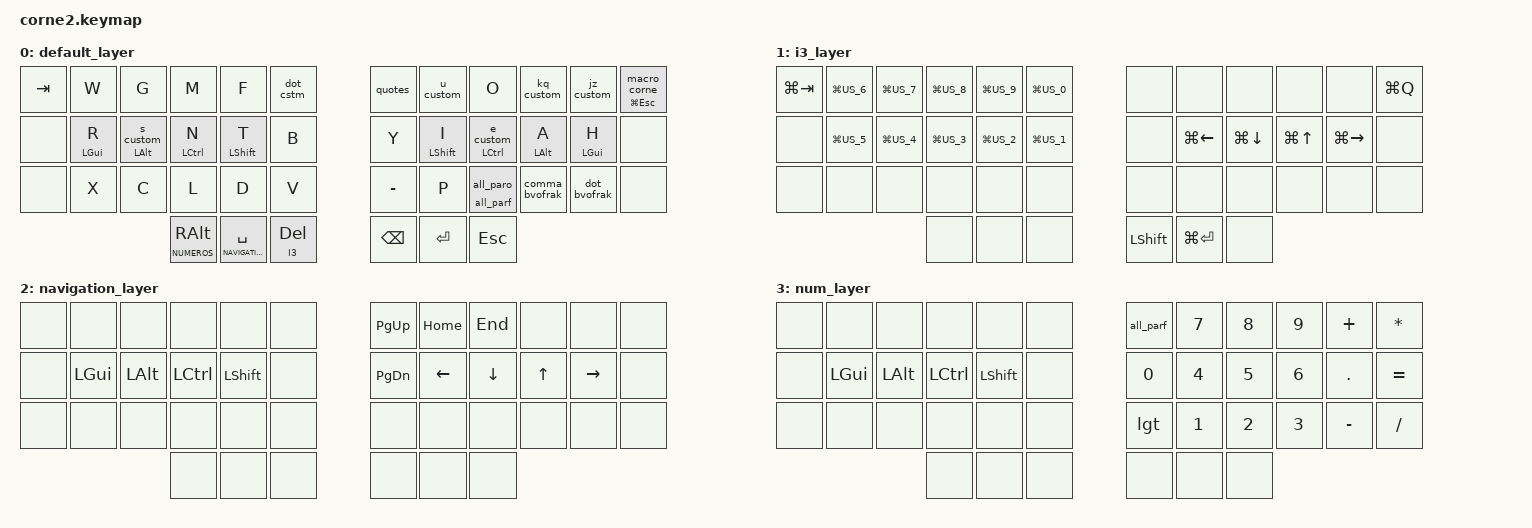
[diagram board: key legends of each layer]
/*
 * Copyright (c) 2020 The ZMK Contributors
 *
 * SPDX-License-Identifier: MIT
 */

#include <behaviors.dtsi>
#include "../zmk-nodefree-config/helper.h"
#include "../zmk-nodefree-config/keypos_def/keypos_42keys.h"
#include <dt-bindings/zmk/keys.h>
#include <dt-bindings/zmk/bt.h>
#include "accents.dtsi"
#include "keys_fr.h"
#include <dt-bindings/zmk/rgb.h>
#include <dt-bindings/zmk/ext_power.h>
#include <dt-bindings/zmk/outputs.h>
#include <../boards/shields/corne/boards/nice_nano.overlay>

// Overwrite number of leds on the keyboard. A Corne has 27 per side.
&led_strip { chain-length = <27>; };

#define DEFAULT    0 // default_layer
#define I3    1 // navigation in i3
#define NAVIGATION    2 // navigation classique
#define NUMEROS  3 // numeros

/ {
        behaviors {
                #include "behavior_mod_morph.dtsi"
                ht: hold_tap {
                        compatible = "zmk,behavior-hold-tap";
                        label = "HOLD_TAP";
                        #binding-cells = <2>;
                        tapping-term-ms = <250>;
                        quick-tap-ms = <200>;
                        flavor = "tap-preferred";
                        bindings = <&kp>, <&kp>;
                };
                ht_par: hold_tap_parenthesis {
                        compatible = "zmk,behavior-hold-tap";
                        label = "HOLD_TAP_PAR";
                        #binding-cells = <2>;
                        tapping-term-ms = <250>;
                        quick-tap-ms = <200>;
                        flavor = "tap-preferred";
                        bindings = <&all_parf>, <&all_paro>;
                };
                ht_qqu: hold_tap_qqu {
                        compatible = "zmk,behavior-hold-tap";
                        label = "HOLD_TAP_QQU";
                        #binding-cells = <2>;
                        tapping-term-ms = <250>;
                        quick-tap-ms = <200>;
                        flavor = "tap-preferred";
                        bindings = <&kp>, <&macro_qu>;
                };
                ht_chevrons: hold_tap_chevrons {
                        compatible = "zmk,behavior-hold-tap";
                        label = "HOLD_TAP_CHEVRONS";
                        #binding-cells = <2>;
                        tapping-term-ms = <250>;
                        quick-tap-ms = <200>;
                        flavor = "tap-preferred";
                        bindings = <&macro_chevrons>, <&lgt>;
                };
                ht_equal: hold_tap_equal {
                        compatible = "zmk,behavior-hold-tap";
                        label = "HOLD_TAP_EQUAL";
                        #binding-cells = <2>;
                        tapping-term-ms = <250>;
                        quick-tap-ms = <200>;
                        flavor = "tap-preferred";
                        bindings = <&macro_diff>, <&kp>;
                };
                ht_esc: hold_tap_esc {
                        compatible = "zmk,behavior-hold-tap";
                        label = "HOLD_TAP_ESC";
                        #binding-cells = <2>;
                        tapping-term-ms = <250>;
                        quick-tap-ms = <200>;
                        flavor = "tap-preferred";
                        bindings = <&kp>, <&macro_corne>;
                };
                mo_to: behavior_mo_to {
                        compatible = "zmk,behavior-hold-tap";
                        label = "mo_to";
                        #binding-cells = <2>;
                        flavor = "hold-preferred";
                        tapping-term-ms = <200>;
                        bindings = <&mo>, <&to>;
                }; //momentary on hold, to on tap
                hme: homerow_mod_e {
                        compatible = "zmk,behavior-hold-tap";
                        label = "HOMEROW_MOD_E";
                        #binding-cells = <2>;
                        flavor = "tap-preferred";
                        tapping-term-ms = <200>;
                        quick-tap-ms = <200>;
                        bindings = <&kp>, <&e_custom>;
                };
                hms: homerow_mod_s {
                        compatible = "zmk,behavior-hold-tap";
                        label = "HOMEROW_MOD_S";
                        #binding-cells = <2>;
                        flavor = "tap-preferred";
                        tapping-term-ms = <200>;
                        quick-tap-ms = <200>;
                        bindings = <&kp>, <&s_custom>;
                };
                bhm: balanced_homerow_mods {
                        compatible = "zmk,behavior-hold-tap";
                        label = "HOMEROW_MODS";
                        #binding-cells = <2>;
                        flavor = "tap-preferred";
                        tapping-term-ms = <200>;
                        quick-tap-ms = <200>;
                        bindings = <&kp>, <&kp>;
                };
                kq_custom: kq_custom {
                        compatible = "zmk,behavior-mod-morph";
                        label = "KQ_CUSTOM";
                        #binding-cells = <0>;
                        bindings = <&kp US_K>, <&ht_qqu Q 0>;
                        mods = <(MOD_LALT|MOD_RALT)>;
                };
        };
        macros {
                macro_diff: macro_diff {
                        label = "macro_diff";
                        compatible = "zmk,behavior-macro";
                        #binding-cells = <0>;
                        bindings = <&macro_tap &kp EXCL &kp EQUAL>;
                };
                macro_chevrons: macro_chevrons {
                        label = "macro_chevrons";
                        compatible = "zmk,behavior-macro";
                        #binding-cells = <0>;
                        bindings = <&macro_tap &kp LT &kp GT &kp LEFT>;
                };
                macro_qu: macro_qu {
                        label = "macro_qu";
                        compatible = "zmk,behavior-macro";
                        #binding-cells = <0>;
                        bindings = <&macro_wait_time 30 &macro_tap &kp Q &kp U>,
                        <&macro_release &kp LALT>;
                };
                macro_corne: macro_corne {
                        label = "macro_corne";
                        compatible = "zmk,behavior-macro";
                        #binding-cells = <0>;
                        bindings = 
                        <&macro_wait_time 2000>,
                        <&macro_tap &kp LG(RET)>,
                        <&macro_wait_time 30>,
                        <&macro_tap &kp C &kp O &kp R &kp N &kp E &kp RET &kp LG(Q)>;
                };
        };
        combos {
                compatible = "zmk,combos";
                combo_cut {
                        timeout-ms = <50>;
                        key-positions = <25 27>;
                        bindings = <&kp LC(X)>;
                };
                combo_copy {
                        timeout-ms = <50>;
                        key-positions = <25 26>;
                        bindings = <&kp LC(C)>;
                };
                combo_paste {
                        timeout-ms = <50>;
                        key-positions = <26 27>;
                        bindings = <&kp LC(V)>;
                };
                combo_undo {
                        timeout-ms = <50>;
                        key-positions = <25 28>;
                        bindings = <&kp LC(Z)>;
                };
                combo_redo {
                        timeout-ms = <50>;
                        key-positions = <25 29>;
                        bindings = <&kp LC(Y)>;
                };
                combo_caps_word {
                        timeout-ms = <50>;
                        key-positions = <16 19>;
                        bindings = <&caps_word>;
                };
                combo_chevrons {
                        timeout-ms = <50>;
                        key-positions = <33 34>;
                        bindings = <&ht_chevrons 0 0>;
                };
                combo_slh {
                        timeout-ms = <50>;
                        key-positions = <4 5>;
                        bindings = <&all_slh>;
                };
                combo_star {
                        timeout-ms = <50>;
                        key-positions = <30 34>;
                        bindings = <&kp STAR>;
                };
                combo_at {
                        timeout-ms = <50>;
                        key-positions = <16 21>;
                        bindings = <&kp AT>;
                };
                combo_hash {
                        timeout-ms = <50>;
                        key-positions = <32 33>;
                        bindings = <&kp HASH>;
                };
                combo_prc {
                        timeout-ms = <50>;
                        key-positions = <31 32>;
                        bindings = <&kp PERCENT>;
                };
                combo_and {
                        timeout-ms = <50>;
                        key-positions = <16 20>;
                        bindings = <&kp AMPS>;
                };
                combo_equal_diff {
                        timeout-ms = <50>;
                        key-positions = <30 31>;
                        bindings = <&ht_equal 0 EQUAL>;
                };
                combo_eacu {
                        timeout-ms = <50>;
                        key-positions = <19 20>;
                        bindings = <&kp US_EACU>;
                };
                combo_egrv {
                        timeout-ms = <50>;
                        key-positions = <20 21>;
                        bindings = <&ac_egrv>;
                };
                combo_ecir {
                        timeout-ms = <50>;
                        key-positions = <8 20>;
                        bindings = <&ac_ecir>;
                };
                combo_agrv {
                        timeout-ms = <50>;
                        key-positions = <8 21>;
                        bindings = <&ac_agrv>;
                };
                combo_circ {
                        timeout-ms = <50>;
                        key-positions = <28 29>;
                        bindings = <&kp US_DCARET>;
                };
                combo_trem {
                        timeout-ms = <50>;
                        key-positions = <16 17>;
                        bindings = <&kp US_DDQT>;
                };
                combo_cced {
                        timeout-ms = <50>;
                        key-positions = <14 15>;
                        bindings = <&kp US_CCED>;
                };
        };
        keymap {
                compatible = "zmk,keymap";

                default_layer {
// -----------------------------------------------------------------------------------------
// | Tab |  W  |  G  |  M  |  F  | ! ? |   | ' " |  U  |  O  |Kq QU| Jz  |qt/st|
// |     |  R  |  S  |  N  |  T  |  B  |   |  Y  |  I  |  E  |  A  |  H  |     |
// |     |  X  |  C  |  L  |  D  |  V  |   | - _ |  P  | ({[ | , ; | . : |     |
//                   |RALT |SUPR | SPC |   |ENTER| DEL | ESC |
                        bindings = <
   &kp TAB   &kp W       &kp G       &kp M        &kp F         &dot_cstm      &quotes   &u_custom     &kp O        &kq_custom     &jz_custom   &ht_esc LG(ESC) 0
   &none     &bhm LGUI R &hms LALT 0 &bhm LCTRL N &bhm LSHIFT T &kp B          &kp Y     &bhm LSHIFT I &hme LCTRL 0 &bhm LALT A    &bhm LGUI H  &none 
   &none     &kp X       &kp C       &kp L        &kp D         &kp V          &kp MINUS &kp P         &ht_par 0 0  &comma_bvofrak &dot_bvofrak &none
                          &lt NUMEROS RALT &lt NAVIGATION SPACE &lt I3 DEL          &kp BSPC     &kp RET   &kp ESC
                        >;
                };
                i3_layer {
// -----------------------------------------------------------------------------------------
// |wintb|  6  |  7  |  8  |  9  |  0  |   |     |     |     |     |     |     |
// |     |  5  |  4  |  3  |  2  |  1  |   |     |  ←  |  ↓  |  ↑  |  →  |     |
// |     |     |     |     |     |     |   |     |     |     |     |     |     |
//                   |     |     |     |   |SHIFT|     |     |
                        bindings = <
   &kp LG(TAB) &kp LG(US_6) &kp LG(US_7) &kp LG(US_8) &kp LG(US_9) &kp LG(US_0)   &none &none        &none        &none      &none         &kp LG(Q)
   &none       &kp LG(US_5) &kp LG(US_4) &kp LG(US_3) &kp LG(US_2) &kp LG(US_1)   &none &kp LG(LEFT) &kp LG(DOWN) &kp LG(UP) &kp LG(RIGHT) &none
   &none       &none        &none        &none        &none        &none          &none &none        &none        &none      &none         &none
                                         &none        &none        &none          &kp LSHIFT &kp LG(RET)  &none
                        >;
                };
                navigation_layer {
// -----------------------------------------------------------------------------------------
// |     |     |     |     |     |     |   |PG_UP|HOME | END |     |     |     |
// |     | GUI | ALT | CTRL|SHIFT|     |   |PG_DN|  ←  |  ↓  |  ↑  |  →  |     |
// |     |     |     |     |     |     |   |     |     |     |     |     |     |
//                   |     |     |     |   |     |     |     |
                        bindings = <
   &none &none    &none    &none     &none      &none      &kp PG_UP &kp HOME &kp END  &none  &none     &none 
   &none &kp LGUI &kp LALT &kp LCTRL &kp LSHIFT &none      &kp PG_DN &kp LEFT &kp DOWN &kp UP &kp RIGHT &none
   &none &none    &none    &none     &none      &none      &none     &none    &none    &none  &none     &none
                                  &none &none &none      &none &none  &none
                        >;
                };
              num_layer {
// -----------------------------------------------------------------------------------------
// |     |     |     |     |     |     |   |) } ]|  7  |  8  |  9  |  +  |  *  |
// |     | GUI | ALT | CTRL|SHIFT|     |   |  0  |  4  |  5  |  6  |  .  |  =  |
// |     |     |     |     |     |     |   | < > |  1  |  2  |  3  |  -  |  /  |
//                   |     |     |     |   |     |     |     |
                        bindings = <
   &none &none &none &none &none &none      &all_parf &kp N7 &kp N8 &kp N9 &kp PLUS &kp STAR 
   &none &kp LGUI &kp LALT &kp LCTRL &kp LSHIFT &none      &kp N0 &kp N4 &kp N5 &kp N6 &kp DOT &kp EQUAL
   &none &none &none &none &none &none      &lgt &kp N1 &kp N2 &kp N3 &kp MINUS &kp FSLH
                     &none &none &none      &none &none  &none
                        >;
                };
//                control_layer {
// -----------------------------------------------------------------------------------------
// |  F1  |  F2 |  F3 | F4  | F5  | F6  |   | F7  | F8  | F9  | F10 | F11 | F12 |
// |to def| OUT | BR- | BR+ | EFF | TOG |   |     |     |     |     |mncrf|     |
// |BTCLR | BT1 | BT2 | BT3 | BT4 | BT5 |   |prev |play |next |vol+ |vol- |mute |
//                   |     |     |     |   |     |     |     |
//                        bindings = <
//   &kp F1      &kp F2       &kp F3          &kp F4          &kp F5          &kp F6          &kp F7     &kp F8   &kp F9     &kp F10      &kp F11       &kp F12
//   &to DEFAULT &out OUT_TOG &rgb_ug RGB_BRD &rgb_ug RGB_BRI &rgb_ug RGB_EFF &rgb_ug RGB_TOG &none      &none    &none      &none        &to MINECRAFT &none
//   &bt BT_CLR  &bt BT_SEL 1 &bt BT_SEL 2    &bt BT_SEL 3    &bt BT_SEL 4    &bt BT_SEL 5    &kp C_PREV &kp C_PP &kp C_NEXT &kp C_VOL_UP &kp C_VOL_DN  &kp C_MUTE
//                                        &trans       &trans       &mo_to NAVIGATION DEFAULT       &trans     &trans   &trans
//                        >;
//                };
//                minecraft_layer {
// -----------------------------------------------------------------------------------------
// | ESC |  Q  |  1  |  W  |  E  |  R  |   |     |       |     |     |     |DEFAULT|
// | TAB |SHIFT|  A  |  S  |  D  |  L  |   |     |       |     |     |     |       |
// |  F5 |  F  |     |  H  |  G  |  B  |   |     |       |     |     |     |       |
//                   | CTRL| F3  |SPACE|   |     |       |     |
//                        bindings = <
//   &kp ESC &kp US_Q   &kp US_1 &kp US_W &kp US_E &kp US_R   &none &none &none &none &none &to DEFAULT
//   &kp TAB &kp LSHIFT &kp US_A &kp US_S &kp US_D &kp US_L   &none &none &none &none &none &none
//   &kp F5  &kp US_F   &none    &kp US_H &kp US_G &kp US_B   &none &none &none &none &none &none
//                              &kp LCTRL &kp F3   &kp SPACE  &none &none &none
//                        >;
//                };
                //default_layer {
// -----------------------------------------------------------------------------------------
// | Tab | ? ! |  Y  |  P  |  O  | / = |   |'`"^ |  L  |  D  |  M  |  J  | ' " |
// | ESC |  A  |  U  |  I  |  E  | ( { |   | . : |  S  |  T  |  N  |  R  |  F  |
// | Alt |  Z  |  X  |  C  |  V  |  B  |   | , ; |  H  |  G  |  W  |  Q  |  K  |
//                   |CTRL | SPC | LY  |   |SHIFT| ENT | BSP |
                        //bindings = <
   //&kp TAB  &dot_cstm &kp US_Y  &kp US_P &o_custom &slheq        &all_accent    &kp US_L &kp US_D &kp US_M &kp US_J &quotes
   //&kp ESC  &mt LGUI &a_custom &mt LCTRL &u_custom &mt RALT US_I &mt LSHIFT &e_custom &parbrc       &dot_bvofrak   &mt LSHIFT US_S &mt RALT US_T &mt LCTRL US_N &mt LGUI US_R &kp US_F 
   //&kp RALT &kp US_Z  &kp US_X  &kp US_C &kp US_V  &kp US_B      &comma_bvofrak &kp US_H &kp US_G &kp US_W &kp US_Q &kp US_K
                          //&kp LCTRL &kp SPACE &mo_to NAVIGATION SYMBOLS          &kp RSHIFT     &kp RET   &kp BSPC
                        //>;
                //};
//              none_layer {
// -----------------------------------------------------------------------------------------
// |     |     |     |     |     |     |   |     |     |     |     |     |     |
// |     |     |     |     |     |     |   |     |     |     |     |     |     |
// |     |     |     |     |     |     |   |     |     |     |     |     |     |
//                   |     |     |     |   |     |     |     |
//                        bindings = <
//   &none &none &none &none &none &none      &none &none &none &none &none &none 
//   &none &none &none &none &none &none      &none &none &none &none &none &none
//   &none &none &none &none &none &none      &none &none &none &none &none &none
//                     &none &none &none      &none &none  &none
//                        >;
//                };
        };
};
